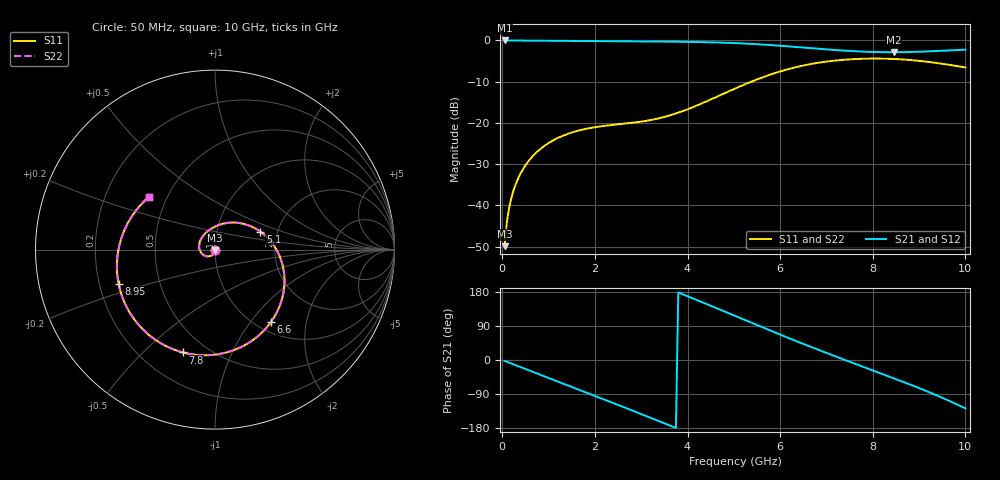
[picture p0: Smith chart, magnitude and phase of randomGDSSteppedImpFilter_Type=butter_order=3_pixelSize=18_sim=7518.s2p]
! freq	dB(S11)	phase(S11)	dB(S12)	phase(S12)
!  dB(S21)	phase(S21)	dB(S22)	phase(S22)
!S-par simulation data
#  GHz  S  DB  R 50
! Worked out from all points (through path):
!   200 points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, 50 MHz to 10 GHz, reference 50 ohm
!   highest |S21| = 0.00 dB at 50 MHz (marker M1); lowest = -2.9 dB at 8.45 GHz (marker M2)
!   group delay of S21, straight-line fit = 135 ps
!   lowest |S11| = -49.9 dB at 50 MHz (marker M3), VSWR 1.01, Z = 50 - j0.32 ohm
!   |S11| at or under -10 dB: start of sweep to 5.379 GHz
!   |S22| runs from -49.8 to -4.4 dB; largest |S21 - S12| = 0
!   S11 on the Smith chart (normalised r, x): 50 MHz: 1.00, -0.01; 5.1 GHz: 1.63, +0.35; 6.6 GHz: 1.17, -1.27; 7.8 GHz: 0.37, -0.67; 8.95 GHz: 0.28, -0.16; 10 GHz: 0.40, +0.30
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0.05  -49.90 -91.0  -0.00 -2.4  -0.00 -2.4  -49.83 -90.7
0.1  -43.91 -93.7  -0.01 -4.8  -0.01 -4.8  -43.88 -93.3
0.2  -38.00 -98.6  -0.01 -9.5  -0.01 -9.5  -38.01 -98.5
0.5  -30.31 -114.2  -0.04 -23.7  -0.04 -23.7  -30.30 -114.2
1.15  -23.93 -145.8  -0.08 -54.5  -0.08 -54.5  -23.93 -145.8
1.75  -21.58 -174.6  -0.12 -82.9  -0.12 -82.9  -21.58 -174.7
2.5  -20.34 149.1  -0.18 -118.6  -0.18 -118.6  -20.34 149.0
3.4  -18.84 105.4  -0.26 -162.1  -0.26 -162.1  -18.84 105.3
3.8  -17.53 85.8  -0.31 178.2  -0.31 178.2  -17.53 85.8
4.2  -15.80 66.1  -0.38 158.4  -0.38 158.4  -15.80 66.1
5.05  -11.56 24.1  -0.66 115.3  -0.66 115.3  -11.56 24.1
5.1  -11.31 21.6  -0.68 112.8  -0.68 112.8  -11.31 21.6
5.8  -8.24 -13.2  -1.12 77.1  -1.12 77.1  -8.25 -13.1
6.6  -5.86 -52.2  -1.82 37.6  -1.82 37.6  -5.85 -52.1
6.7  -5.65 -57.0  -1.91 32.8  -1.91 32.8  -5.65 -56.9
7.25  -4.81 -82.5  -2.38 7.0  -2.38 7.0  -4.81 -82.4
7.8  -4.44 -107.3  -2.71 -18.2  -2.71 -18.2  -4.43 -107.3
8.35  -4.45 -132.2  -2.86 -43.3  -2.86 -43.3  -4.45 -132.1
8.45  -4.49 -136.8  -2.86 -47.9  -2.86 -47.9  -4.49 -136.7
8.95  -4.89 -160.6  -2.76 -71.7  -2.76 -71.7  -4.89 -160.5
9.5  -5.66 170.7  -2.49 -99.7  -2.49 -99.7  -5.66 170.8
10  -6.54 141.3  -2.25 -127.7  -2.25 -127.7  -6.54 141.4
